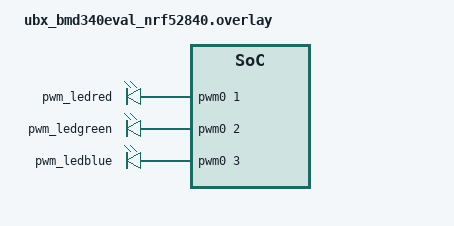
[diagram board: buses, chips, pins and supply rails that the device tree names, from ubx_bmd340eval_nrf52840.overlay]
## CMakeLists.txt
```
#
# Copyright (c) 2019 Nordic Semiconductor ASA
#
# SPDX-License-Identifier: LicenseRef-Nordic-5-Clause
#
cmake_minimum_required(VERSION 3.20.0)

find_package(Zephyr REQUIRED HINTS $ENV{ZEPHYR_BASE})
project(peripheral_hids_keyboard_UART)

FILE(GLOB app_sources src/*.c)

# Incluir el directorio src para que pueda encontrar los archivos .h
target_include_directories(app PRIVATE src)

# NORDIC SDK APP START
target_sources(app PRIVATE ${app_sources})
# NORDIC SDK APP END

zephyr_library_include_directories(${ZEPHYR_BASE}/samples/bluetooth)
```

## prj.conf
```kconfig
#
# Copyright (c) 2019 Nordic Semiconductor ASA
#
# SPDX-License-Identifier: LicenseRef-Nordic-5-Clause
#
CONFIG_NCS_SAMPLES_DEFAULTS=y

CONFIG_BT=y                                     # Habilita la pila de BLE y un conjunto de configuraciones predeterminadas
CONFIG_BT_DEBUG_LOG=y
CONFIG_BT_MAX_CONN=2
CONFIG_BT_MAX_PAIRED=2
CONFIG_BT_SMP=y                                 # Agregará el Protocolo de administración de seguridad a la pila de Bluetooth LE
CONFIG_BT_ATT_TX_COUNT=5
CONFIG_BT_PERIPHERAL=y                          # Incluye soporte para la función periférica de la pila BLE
# Nombre del dispositivo BLE (Nombre que ve el usuario)
CONFIG_BT_DEVICE_NAME="Nordic_HIDS_keyboard"
# Referencia a como deberia verse fisicamente el dispositivo (PARA BORRAR FRAN)
CONFIG_BT_DEVICE_APPEARANCE=961

CONFIG_BT_BAS=y
CONFIG_BT_HIDS=y
CONFIG_BT_HIDS_MAX_CLIENT_COUNT=2
CONFIG_BT_HIDS_DEFAULT_PERM_RW_ENCRYPT=y
CONFIG_BT_GATT_UUID16_POOL_SIZE=40
CONFIG_BT_GATT_CHRC_POOL_SIZE=20

CONFIG_BT_CONN_CTX=y

CONFIG_BT_DIS=y
CONFIG_BT_DIS_PNP=y
CONFIG_BT_DIS_MANUF="NordicSemiconductor"
CONFIG_BT_DIS_PNP_VID_SRC=2
CONFIG_BT_DIS_PNP_VID=0x1915
CONFIG_BT_DIS_PNP_PID=0xEEEF
CONFIG_BT_DIS_PNP_VER=0x0100

CONFIG_SYSTEM_WORKQUEUE_STACK_SIZE=2048

#incluye la configuración que maneja la memoria flash en su aplicación para almacenar y restaurar la información de enlace
CONFIG_BT_SETTINGS=y                            
CONFIG_FLASH=y
CONFIG_FLASH_PAGE_LAYOUT=y
CONFIG_FLASH_MAP=y
CONFIG_NVS=y
CONFIG_SETTINGS=y

CONFIG_PWM=y

CONFIG_DK_LIBRARY=y

# Config logger
CONFIG_LOG=y
CONFIG_LOG_DEFAULT_LEVEL=3
#CONFIG_USE_SEGGER_RTT=y
#CONFIG_LOG_BACKEND_RTT=y
CONFIG_LOG_BACKEND_UART=n
CONFIG_LOG_PRINTK=n
```

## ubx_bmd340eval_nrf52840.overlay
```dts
// To get started, press Ctrl+Space to bring up the completion menu and view the available nodes.

// You can also use the buttons in the sidebar to perform actions on nodes.
// Actions currently available include:

// * Enabling / disabling the node
// * Adding the bus to a bus
// * Removing the node
// * Connecting ADC channels

// For more help, browse the DeviceTree documentation at https://docs.zephyrproject.org/latest/guides/dts/index.html
// You can also visit the nRF DeviceTree extension documentation at https://docs.nordicsemi.com/bundle/nrf-connect-vscode/page/guides/ncs_configure_app.html#devicetree-support-in-the-extension

&spi3 {
	status = "disabled";
};

&uart1_default {
	group1 {
		psels = <NRF_PSEL(UART_TX, 1, 15)>;
	};

	group2 {
		psels = <NRF_PSEL(UART_RX, 1, 13)>;
		bias-pull-up;
	};
};

/*&gpiote {
	status = "disabled";
};*/

&clock {
	status = "okay";
};

/*---------------------------------------- LEDs and PWM 0 --------------------------------------------------------------------------------*/

&pwm0_default {
	group2 {
		psels = <NRF_PSEL(PWM_OUT0, 0, 13)>,
				//<NRF_PSEL(PWM_OUT1, 0, 26)>, //red
				//<NRF_PSEL(PWM_OUT2, 0, 28)>, //green
				//<NRF_PSEL(PWM_OUT3, 0, 30)>; //blue
				<NRF_PSEL(PWM_OUT1, 0, 14)>, //red   2
				<NRF_PSEL(PWM_OUT2, 0, 15)>, //blue  3
				<NRF_PSEL(PWM_OUT3, 0, 16)>; //green 4
	};
};

/ {
	pwmleds {
		compatible = "pwm-leds";
		pwm_ledred: red_pwm_led {
			pwms = <&pwm0 1 PWM_MSEC(20) 0>; //PWM_POLARITY_INVERTED
		};
		pwm_ledgreen: pwm_led_green {
			pwms = <&pwm0 2 PWM_MSEC(20) 0>;
		};
		pwm_ledblue: pwm_led_blue {
			pwms = <&pwm0 3 PWM_MSEC(20) 0>;
		};
	};
};

/*----------------------------------------------------------------------------------------------------------------------------------------*/
```

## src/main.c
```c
// INCLUDES ------------------------------------------------------------------------------------------------------------------------ 

//#include <errno.h>
//#include <zephyr/sys/byteorder.h>
//#include <zephyr/drivers/gpio.h>
//#include <soc.h>
//#include <assert.h>
//#include <zephyr/spinlock.h>

#include "APP_conf.h"
#include "ble_machine.h"
#include "uart_machine.h"
#include "gpios_leds.h"

//LOG_DBG
//LOG_INF
//LOG_WRN
//LOG_ERR

// VARIABLES AND DEFINES ------------------------------------------------------------------------------------------------------------------------

LOG_MODULE_REGISTER(LOG_MAIN,LOG_LEVEL);

#define K_INTERVAL  100//1

#define KEY_CODE_BUFFER_LEN 6 								// Largo del buffer que toma de UART y envia por BLE 
static uint8_t key_code_buffer[KEY_CODE_BUFFER_LEN];		// (6 es el valor maximo y es el maximo numero de teclas simultaneas que se pueden presionar KEY_PRESS_MAX en ble_machine.c )

static bool is_send = true;									// Bandera para verificar la confirmacion del envio de los datos em el archivo

enum app_machine
{
    APP_GET_UART,
    APP_SENT_BLE,
	APP_WAIT_BLE
};

enum UI_RGB_state_machine
{
    INIT,
    BLE_ADV,
	UART_NOT_READY,
	READY,
	TRANSMITINEDO,
	BLE_ERROR,
	UART_ERROR,
	NOT_STATE,
};

static int8_t app_machine = APP_GET_UART;
static int8_t RGB_machine = INIT;

// KEYCODE ------------------------------------------------------------------------------------------------------------------------

// Array para mapear los códigos de teclado inglés
static uint8_t codigosTeclado[255] = {
	['a'] = 0x04, ['b'] = 0x05, ['c'] = 0x06, ['d'] = 0x07, ['e'] = 0x08,
	['f'] = 0x09, ['g'] = 0x0a, ['h'] = 0x0b, ['i'] = 0x0c, ['j'] = 0x0d,
	['k'] = 0x0e, ['l'] = 0x0f, ['m'] = 0x10, ['n'] = 0x11, ['o'] = 0x12,
	['p'] = 0x13, ['q'] = 0x14, ['r'] = 0x15, ['s'] = 0x16, ['t'] = 0x17,
	['u'] = 0x18, ['v'] = 0x19, ['w'] = 0x1a, ['x'] = 0x1b, ['y'] = 0x1c,
	['z'] = 0x1d, ['0'] = 0x27, ['1'] = 0x1e, ['2'] = 0x1f, ['3'] = 0x20,
	['4'] = 0x21, ['5'] = 0x22, ['6'] = 0x23, ['7'] = 0x24, ['8'] = 0x25,
	['9'] = 0x26, [13 ] = 0x28, [' '] = 0x2c, ['.'] = 0x37, [','] = 0x36,
	[10]  = 0x11
};

// FUNCTIONS ------------------------------------------------------------------------------------------------------------------------

int obtenerCodigoTeclado(char caracter)
{
    int ascii = (int)caracter;
	int temp;

    if (ascii >= 0 && ascii <= 254) {
        temp = codigosTeclado[ascii];
		return temp==0 ? 0x2c : temp;
    } else {
		LOG_ERR("No se encontro el codigo del caracter %c ", caracter);
        return 0x2c;
    }
}

void string_complete_app_cb()
{
	is_send = true;
}

void UI_RGB_machine(void)
{
	static int8_t old_RGB_machine = -1;

	// Serie de if que permiten determinar el estado del dispositivo
	if(get_BLE_notifi_error()) RGB_machine = BLE_ERROR;
	else if(get_UART_notifi_error()) RGB_machine = UART_ERROR;
	else if(!is_send) RGB_machine = TRANSMITINEDO;
	else if(get_BLE_state_conection())
	{
		if(get_UART_notifi_ready()) RGB_machine = READY;
		else RGB_machine = UART_NOT_READY;
	}
	else if(get_state_adv()) RGB_machine = BLE_ADV;
	else if(RGB_machine == INIT);
	else RGB_machine = NOT_STATE;

	if(old_RGB_machine == RGB_machine) return;
	old_RGB_machine = RGB_machine;

	switch (RGB_machine)
	{
		case INIT:
			set_RGB(false,-1,1,-1); //AZUL PRENDIDO
			break;
		case BLE_ERROR:
			set_RGB(true,1,-1,-1);  //ROJO PARPADIANDO
			break;
		case UART_ERROR:
			set_RGB(true,1,-1,1);   //AMARILLO PARPADIANDO
			break;
		case TRANSMITINEDO:
			set_RGB(true,-1,-1,1);  //VERDE PARPADIANDO
			break;
		case READY:
			set_RGB(false,-1,-1,1); //VERDE PRENDIDO
			break;
		case UART_NOT_READY:
			set_RGB(false,1,-1,1);  //AMARILLO PRENDIDO
			break;
		case BLE_ADV:
			set_RGB(true,-1,1,-1);  //AZUL PARPADIANDO
			break;
		case NOT_STATE:
		default:
			set_RGB(true,1,1,1);  	//BLANCO PARPADIANDO
			break;
	}
}

// MAIN ------------------------------------------------------------------------------------------------------------------------

int main(void)
{

	LOG_INF("\r\n\n\n\nMAIN: Starting Bluetooth Peripheral HIDS keyboard example\n");

	static uint8_t data_len;
	uint8_t caracter;

	if(!RGB_UI_init())
	{
		LOG_ERR("Error: can not init RGB UI");
		return 0;
	}

	RGB_machine = INIT;   // ESTE ESTADO SE TENDRIA QUE PONER TAMBIEN SI LAS MAQUINAS DE ESTADO SE REINICIAN //FRAN

	for (;;)
	{
		UI_RGB_machine();

		ble_machine();

		//uart_machine();

		switch (app_machine)
		{
			case APP_GET_UART:
				//ACA QUIZAS DEBERIA VERIFICAR SI HAY CONECCION BLE ANTES DE EMPEZAR A PEDIR PAQUETES A LA UART //FRAN
				caracter = get_rdy_data();
				if(caracter != 0)
				{
					data_len = 0;
					while (caracter != 0)
					{
						key_code_buffer[data_len] = obtenerCodigoTeclado(caracter);
						data_len++;
						if(data_len == KEY_CODE_BUFFER_LEN) {
							caracter = 0;
						} else {
							caracter = get_rdy_data();
						}
					}
					app_machine = APP_SENT_BLE;
				} 
				break;

			case APP_SENT_BLE:
				if(get_BLE_state_conection())
				{
					if(string_send(key_code_buffer,data_len,string_complete_app_cb))
					{
						is_send = false;
						app_machine = APP_WAIT_BLE;
					}
				}
				break;

			case APP_WAIT_BLE:
				if(is_send) app_machine = APP_GET_UART;
				else if(!get_BLE_state_conection()) is_send = true;
				break;
		}
		
		k_sleep(K_MSEC(K_INTERVAL));

	}
}
```

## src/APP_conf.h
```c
#ifndef APP_CONF_H
#define APP_CONF_H

// INCLUDES ------------------------------------------------------------------------------------------------------------------------

#include <zephyr/kernel.h>              // Este lo puse y creo que soluciono el error de inclucion de esta misma libreria en main.c
#include <zephyr/types.h>

#include <stddef.h>
#include <zephyr/sys/printk.h>
#include <string.h>
#include <zephyr/logging/log.h>

// DEFINITIONS ------------------------------------------------------------------------------------------------------------------------

#define LOG_LEVEL 3

#endif//APP_CONF_H
```

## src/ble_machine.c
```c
// INCLUDES ------------------------------------------------------------------------------------------------------------------------

#include "ble_machine.h"

//LOG_LEVEL_SET(LOG_LEVEL);
LOG_MODULE_REGISTER(LOG_BLE,LOG_LEVEL);			// Registro del modulo logger y configuracion del nivel

// VARIABLES ------------------------------------------------------------------------------------------------------------------------

static uint8_t ble_machine_state = BLE_CB_REGISTERS;	//Estado de la maquina de estado BLE

static int8_t global_conter 	= 0;
static bool reconeccted_flag 	= true;
static bool state_conection 	= false;
static bool app_notifi_error_b 	= false;	// Bandeta que indica la precencia de un error
static bool is_adv 				= false; 	// Bandeta que indica el estado del advertising

string_complete_cb_t string_complete_cb;
int8_t* sending_string_pointer;
int8_t 	sending_string_len;



/*---------------------------------------- VARIABLES DEL PROCEDIMIENTO --------------------------------------------------------------*/

//ESTO LO PUSE POR LA FUNCION num_comp_reply Y TIENE QUE VER CON LA CLAVE
static struct k_work pairing_work;
struct pairing_data_mitm {
	struct bt_conn *conn;
	unsigned int passkey;
};

//ESTO LO PUSE POR LA FUNCION num_comp_reply Y TIENE QUE VER CON LOS PROCESOS DEL SISTEMA OPERATIVO
K_MSGQ_DEFINE(mitm_queue,
	      sizeof(struct pairing_data_mitm),
	      CONFIG_BT_HIDS_MAX_CLIENT_COUNT,
	      4);

static const struct bt_data ad[] = 												// Estructura del Advertising packet
{											
	BT_DATA_BYTES( 	BT_DATA_GAP_APPEARANCE,										// Da informacion de como deberia verse fisicamente el dispositivo (PARA BORRAR FRAN)
		      		(CONFIG_BT_DEVICE_APPEARANCE >> 0) & 0xff,
		      		(CONFIG_BT_DEVICE_APPEARANCE >> 8) & 0xff	),
	BT_DATA_BYTES(	BT_DATA_FLAGS, (BT_LE_AD_GENERAL | BT_LE_AD_NO_BREDR) ), 	// Banderas: Dispositivo no compatible con Bluetooth clásico (BR/EDR) - El periodo de publicidad es prolongado.
	BT_DATA_BYTES(	BT_DATA_UUID16_ALL, 										// Indica todos los UUIDs de 16 bits que el dispositivo está publicitando
					BT_UUID_16_ENCODE(BT_UUID_HIDS_VAL),							// Representa el UUID del servicio Human Interface Device Service (HIDS)
					BT_UUID_16_ENCODE(BT_UUID_BAS_VAL) ),							// Representa el UUID del servicio Battery Service (BAS)
};

static const struct bt_data sd[] = 												// Estructura de la respuesta de escaneo
{											
	BT_DATA(BT_DATA_NAME_COMPLETE, DEVICE_NAME, DEVICE_NAME_LEN),				// Incluye el nombre del dispositivo visible por el usuario
};

/*---------------------------------------- HID VARIABLES AND DEFINES --------------------------------------------------------------------------------*/

#define BASE_USB_HID_SPEC_VERSION   0x0101

#define OUTPUT_REPORT_MAX_LEN            1
#define OUTPUT_REPORT_BIT_MASK_CAPS_LOCK 0x02
#define INPUT_REP_KEYS_REF_ID            0
#define OUTPUT_REP_KEYS_REF_ID           0
#define MODIFIER_KEY_POS                 0
#define SHIFT_KEY_CODE                   0x02
#define SCAN_CODE_POS                    2
#define KEYS_MAX_LEN                    (INPUT_REPORT_KEYS_MAX_LEN - \
					SCAN_CODE_POS)

#define INPUT_REPORT_KEYS_MAX_LEN (1 + 1 + KEY_PRESS_MAX)

enum {
	OUTPUT_REP_KEYS_IDX = 0
};

enum {
	INPUT_REP_KEYS_IDX = 0
};

// ESTAS DEFINICIONES LAS PUSE POR LAS FUNCIONES DE QUE ENVIAN EL REPORTE
#define KEY_CTRL_CODE_MIN 224 /* Control key codes - required 8 of them */
#define KEY_CTRL_CODE_MAX 231 /* Control key codes - required 8 of them */
#define KEY_CODE_MIN      0   /* Normal key codes */
#define KEY_CODE_MAX      101 /* Normal key codes */
#define KEY_PRESS_MAX     6   /* Maximum number of non-control keyspressed simultaneously*/ //FRAN: No se puede aumentar este numero

BT_HIDS_DEF(hids_obj, OUTPUT_REPORT_MAX_LEN, INPUT_REPORT_KEYS_MAX_LEN); // HIDS instance

//ESTO SE USA EN LAS FUNCIONES DE CONNECTED Y EN LAS DE HID
static struct conn_mode {
	struct bt_conn *conn;
	bool in_boot_mode;
} conn_mode[CONFIG_BT_HIDS_MAX_CLIENT_COUNT];

// ESTA VARIABLE Y ESTRUCTURA LAS PUSE POR LAS FUNCIONES DE QUE ENVIAN EL REPORTE
/* Current report status*/
static struct keyboard_state {
	uint8_t ctrl_keys_state; /* Current keys state */
	uint8_t keys_state[KEY_PRESS_MAX];
} hid_keyboard_state;

// CALLBACKS STRUCT ------------------------------------------------------------------------------------------------------------------------

static struct bt_conn_auth_cb conn_auth_callbacks = {
	.passkey_display = auth_passkey_display,
	.passkey_confirm = auth_passkey_confirm,
	.cancel = auth_cancel,
};

static struct bt_conn_auth_info_cb conn_auth_info_callbacks = {
	.pairing_complete = pairing_complete,
	.pairing_failed = pairing_failed
};

BT_CONN_CB_DEFINE(conn_callbacks) = {
	.connected = connected,
	.disconnected = disconnected,
	.security_changed = security_changed,
};

/*---------------------------------------- HIDS FUNCTIONS AND CALLBACKS --------------------------------------------------------------------------------*/

static void hids_outp_rep_handler(struct bt_hids_rep *rep,
				  struct bt_conn *conn,
				  bool write)
{
	LOG_DBG("%d - hids_outp_rep_handler\n",global_conter++);

	char addr[BT_ADDR_LE_STR_LEN];

	if (!write) {
		printk("Output report read\n");
		return;
	};

	bt_addr_le_to_str(bt_conn_get_dst(conn), addr, sizeof(addr));
	LOG_INF("Output report has been received %s\n", addr);
}


static void hids_boot_kb_outp_rep_handler(struct bt_hids_rep *rep,
					  struct bt_conn *conn,
					  bool write)
{
	printk("%d - hids_boot_kb_outp_rep_handler\n",global_conter++); // FRANCISCO

	char addr[BT_ADDR_LE_STR_LEN];

	if (!write) {
		printk("Output report read\n");
		return;
	};

	bt_addr_le_to_str(bt_conn_get_dst(conn), addr, sizeof(addr));
	printk("Boot Keyboard Output report has been received %s\n", addr);
}


static void hids_pm_evt_handler(enum bt_hids_pm_evt evt, 
                                struct bt_conn *conn)
{
	printk("%d - hids_pm_evt_handler\n",global_conter++); // FRANCISCO

	char addr[BT_ADDR_LE_STR_LEN];
	size_t i;

	for (i = 0; i < CONFIG_BT_HIDS_MAX_CLIENT_COUNT; i++) {
		if (conn_mode[i].conn == conn) {
			break;
		}
	}

	if (i >= CONFIG_BT_HIDS_MAX_CLIENT_COUNT) {
		printk("Cannot find connection handle when processing PM");
		return;
	}

	bt_addr_le_to_str(bt_conn_get_dst(conn), addr, sizeof(addr));

	switch (evt) {
	case BT_HIDS_PM_EVT_BOOT_MODE_ENTERED:
		printk("Boot mode entered %s\n", addr);
		conn_mode[i].in_boot_mode = true;
		break;

	case BT_HIDS_PM_EVT_REPORT_MODE_ENTERED:
		printk("Report mode entered %s\n", addr);
		conn_mode[i].in_boot_mode = false;
		break;

	default:
		break;
	}
}


static void hid_init(void)
{
	int err;
	struct bt_hids_init_param    hids_init_obj = { 0 };
	struct bt_hids_inp_rep       *hids_inp_rep;
	struct bt_hids_outp_feat_rep *hids_outp_rep;

	printk("%d - hid_init\n",global_conter++);

	static const uint8_t report_map[] = {
		0x05, 0x01,       /* Usage Page (Generic Desktop) */
		0x09, 0x06,       /* Usage (Keyboard) */
		0xA1, 0x01,       /* Collection (Application) */

		/* Keys */
#if INPUT_REP_KEYS_REF_ID
		0x85, INPUT_REP_KEYS_REF_ID,
#endif
		0x05, 0x07,       /* Usage Page (Key Codes) */
		0x19, 0xe0,       /* Usage Minimum (224) */
		0x29, 0xe7,       /* Usage Maximum (231) */
		0x15, 0x00,       /* Logical Minimum (0) */
		0x25, 0x01,       /* Logical Maximum (1) */
		0x75, 0x01,       /* Report Size (1) */
		0x95, 0x08,       /* Report Count (8) */
		0x81, 0x02,       /* Input (Data, Variable, Absolute) */

		0x95, 0x01,       /* Report Count (1) */
		0x75, 0x08,       /* Report Size (8) */
		0x81, 0x01,       /* Input (Constant) reserved byte(1) */

		0x95, 0x06,       /* Report Count (6) */
		0x75, 0x08,       /* Report Size (8) */
		0x15, 0x00,       /* Logical Minimum (0) */
		0x25, 0x65,       /* Logical Maximum (101) */
		0x05, 0x07,       /* Usage Page (Key codes) */
		0x19, 0x00,       /* Usage Minimum (0) */
		0x29, 0x65,       /* Usage Maximum (101) */
		0x81, 0x00,       /* Input (Data, Array) Key array(6 bytes) */

		/* LED */
#if OUTPUT_REP_KEYS_REF_ID
		0x85, OUTPUT_REP_KEYS_REF_ID,
#endif
		0x95, 0x05,       /* Report Count (5) */
		0x75, 0x01,       /* Report Size (1) */
		0x05, 0x08,       /* Usage Page (Page# for LEDs) */
		0x19, 0x01,       /* Usage Minimum (1) */
		0x29, 0x05,       /* Usage Maximum (5) */
		0x91, 0x02,       /* Output (Data, Variable, Absolute), */
				  /* Led report */
		0x95, 0x01,       /* Report Count (1) */
		0x75, 0x03,       /* Report Size (3) */
		0x91, 0x01,       /* Output (Data, Variable, Absolute), */
				  /* Led report padding */

		0xC0              /* End Collection (Application) */
	};

	hids_init_obj.rep_map.data = report_map;
	hids_init_obj.rep_map.size = sizeof(report_map);

	hids_init_obj.info.bcd_hid = BASE_USB_HID_SPEC_VERSION;
	hids_init_obj.info.b_country_code = 0x00;
	hids_init_obj.info.flags = (BT_HIDS_REMOTE_WAKE |
				    BT_HIDS_NORMALLY_CONNECTABLE);

	hids_inp_rep =
		&hids_init_obj.inp_rep_group_init.reports[INPUT_REP_KEYS_IDX];
	hids_inp_rep->size = INPUT_REPORT_KEYS_MAX_LEN;
	hids_inp_rep->id = INPUT_REP_KEYS_REF_ID;
	hids_init_obj.inp_rep_group_init.cnt++;

	hids_outp_rep =
		&hids_init_obj.outp_rep_group_init.reports[OUTPUT_REP_KEYS_IDX];
	hids_outp_rep->size = OUTPUT_REPORT_MAX_LEN;
	hids_outp_rep->id = OUTPUT_REP_KEYS_REF_ID;
	hids_outp_rep->handler = hids_outp_rep_handler;									// ESTA ES DEL MISMO TIPO QUE LA DE LA LINEA 506
	hids_init_obj.outp_rep_group_init.cnt++;

	hids_init_obj.is_kb = true;
	hids_init_obj.boot_kb_outp_rep_handler = hids_boot_kb_outp_rep_handler;			// ESTA ES DEL MISMO TIPO QUE LA DE LA LINEA 502
	hids_init_obj.pm_evt_handler = hids_pm_evt_handler;

	err = bt_hids_init(&hids_obj, &hids_init_obj);
	__ASSERT(err == 0, "HIDS initialization failed\n");
}

/*---------------------------------------- FUNCTIONS -----------------------------------------------------------------------*/

static void advertising_start(void)
{
	LOG_DBG("advertising_start\n");
	int err;
	struct bt_le_adv_param *adv_param = BT_LE_ADV_PARAM( BT_LE_ADV_OPT_CONNECTABLE |		// Advertising Options: Publicidad como conectable	
														 BT_LE_ADV_OPT_ONE_TIME,			// Advertising Options: Anuncie una vez. No intentes reanudar la publicidad conectable después de una conexión. 
														 BT_GAP_ADV_FAST_INT_MIN_2,			// Minimum advertising interval: 
														 BT_GAP_ADV_FAST_INT_MAX_2,			// Maximum advertising interval:
														 NULL);								// Publicidad dirigida a esta direccion.

	err = bt_le_adv_start(adv_param, ad, ARRAY_SIZE(ad), sd, ARRAY_SIZE(sd));				// Inicia la publicidad con su configuracion y los paquetes de publicidad y de respuesta a escaneo  
	if (err)
	{
		if (err == -EALREADY) {
			LOG_INF("Advertising continued\n"); // Esto nose si es necesario, lo dejo para ver cuando pasa. FRAN
		} else {
			LOG_ERR("Advertising failed to start (err %d)\n", err);
		}
		return;
	}

	is_adv = true;
	LOG_INF("Advertising successfully started\n");
}

static void num_comp_reply(bool accept)
{
	printk("%d - num_comp_reply\n",global_conter++); // FRANCISCO

	struct pairing_data_mitm pairing_data;
	struct bt_conn *conn;

	if (k_msgq_get(&mitm_queue, &pairing_data, K_NO_WAIT) != 0) {
		return;
	}

	conn = pairing_data.conn;

	if (accept) {
		bt_conn_auth_passkey_confirm(conn);
		printk("Numeric Match, conn %p\n", conn);
	} else {
		bt_conn_auth_cancel(conn);
		printk("Numeric Reject, conn %p\n", conn);
	}

	bt_conn_unref(pairing_data.conn);

	if (k_msgq_num_used_get(&mitm_queue)) {
		k_work_submit(&pairing_work);
	}
}

/*---------------------------------------- FUNCTIONES TO REPORTS-----------------------------------------------------------------------*/

bool get_BLE_state_conection()
{
	return state_conection;
}

bool get_state_adv()
{
	return is_adv;
}

bool get_BLE_notifi_error(void)
{
    return app_notifi_error_b;
}

bool string_send(char* cadena, int8_t len, string_complete_cb_t cb)
{
	if(ble_machine_state != BLE_WAITING_TO_SEND)	return false;
    if(cadena == NULL || len == 0 || cb == NULL)	return false;
	
	string_complete_cb 		= cb;
	sending_string_pointer 	= cadena;
	sending_string_len		= len;

	for (int8_t i = 0; i < len ; i++)
	{
		hid_kbd_state_key_set(sending_string_pointer[i]);
	}

	key_report_send();
	ble_machine_state = BLE_WAITING_SEND;
	return true;
}

void Report_complete_callback(struct bt_conn *conn, void *user_data) //Esta callback la tendria que pasar yo a la funcion de key_report_send
{ 
	printk("%d - Report_complete_callback  ",global_conter++); // FRANCISCO

	if(sending_string_pointer == NULL)
    {
		string_complete_cb();
		ble_machine_state 	= BLE_WAITING_TO_SEND;
	}
	else
	{
		for (int8_t i = 0 ; i < sending_string_len ; i++)
		{
			hid_kbd_state_key_clear(sending_string_pointer[i]);
		}
		sending_string_pointer = NULL;
		sending_string_len = 0;
		key_report_send();
		ble_machine_state = BLE_WAITING_SEND;
	}
}

int hid_kbd_state_key_set(uint8_t key)
{
	//printk("%d - key_set\n",global_conter++); // FRANCISCO

	uint8_t ctrl_mask = 0;//button_ctrl_code(key);

	if (ctrl_mask) {
		hid_keyboard_state.ctrl_keys_state |= ctrl_mask;
		return 0;
	}
	for (size_t i = 0; i < KEY_PRESS_MAX; ++i) {
		if (hid_keyboard_state.keys_state[i] == 0) {
			hid_keyboard_state.keys_state[i] = key;
			return 0;
		}
	}
	/* All slots busy */
	return -EBUSY;
}

int hid_kbd_state_key_clear(uint8_t key)
{
	//printk("%d - key_clear\n",global_conter++); // FRANCISCO

	uint8_t ctrl_mask = 0;//button_ctrl_code(key);

	if (ctrl_mask) {
		hid_keyboard_state.ctrl_keys_state &= ~ctrl_mask;
		return 0;
	}
	for (size_t i = 0; i < KEY_PRESS_MAX; ++i) {
		if (hid_keyboard_state.keys_state[i] == key) {
			hid_keyboard_state.keys_state[i] = 0;
			return 0;
		}
	}
	/* Key not found */
	return -EINVAL;
}

static int key_report_con_send(const struct keyboard_state *state,bool boot_mode,struct bt_conn *conn)
{

	//printk("%d - key_report_con_send\n",global_conter++); // FRANCISCO

	int err = 0;
	uint8_t  data[INPUT_REPORT_KEYS_MAX_LEN];
	uint8_t *key_data;
	const uint8_t *key_state;
	size_t n;

	data[0] = state->ctrl_keys_state;
	data[1] = 0;
	key_data = &data[2];
	key_state = state->keys_state;

	for (n = 0; n < KEY_PRESS_MAX; ++n) {
		*key_data++ = *key_state++;
	}
	if (boot_mode) {
		err = bt_hids_boot_kb_inp_rep_send(&hids_obj, conn, data,
							sizeof(data), NULL);
	} else {
		err = bt_hids_inp_rep_send(&hids_obj, conn,
						INPUT_REP_KEYS_IDX, data,
						sizeof(data), Report_complete_callback);
	}
	return err;
}

int key_report_send(void)
{

	printk("%d - key_report_send\n",global_conter++); // FRANCISCO

	for (size_t i = 0; i < CONFIG_BT_HIDS_MAX_CLIENT_COUNT; i++) {
		if (conn_mode[i].conn) {
			int err;

			err = key_report_con_send(&hid_keyboard_state,
						  conn_mode[i].in_boot_mode,
						  conn_mode[i].conn);
			if (err) {
				printk("Key report send error: %d\n", err);
				return err;
			}
		}
	}
	return 0;
}

/*---------------------------------------- AUTH CALLBACKS -------------------------------------------------------------------*/

void auth_passkey_display(struct bt_conn *conn, unsigned int passkey)
{

	printk("%d - auth_passkey_display\n",global_conter++); // FRANCISCO

	char addr[BT_ADDR_LE_STR_LEN];

	bt_addr_le_to_str(bt_conn_get_dst(conn), addr, sizeof(addr));

	printk("Passkey for %s: %06u\n", addr, passkey);
}

void auth_passkey_confirm(struct bt_conn *conn, unsigned int passkey)
{
	int err;

	printk("%d - auth_passkey_confirm\n",global_conter++); // FRANCISCO

	reconeccted_flag = false;

	struct pairing_data_mitm pairing_data;

	pairing_data.conn    = bt_conn_ref(conn);
	pairing_data.passkey = passkey;

	err = k_msgq_put(&mitm_queue, &pairing_data, K_NO_WAIT);
	if (err) {
		printk("Pairing queue is full. Purge previous data.\n");
	}

	/* In the case of multiple pairing requests, trigger
	 * pairing confirmation which needed user interaction only
	 * once to avoid display information about all devices at
	 * the same time. Passkey confirmation for next devices will
	 * be proccess from queue after handling the earlier ones.
	 */
	if (k_msgq_num_used_get(&mitm_queue) == 1) {
		k_work_submit(&pairing_work);
	}
}

void auth_cancel(struct bt_conn *conn)
{

	printk("%d - auth_cancel\n",global_conter++); // FRANCISCO

	char addr[BT_ADDR_LE_STR_LEN];

	bt_addr_le_to_str(bt_conn_get_dst(conn), addr, sizeof(addr));

	printk("Pairing cancelled: %s\n", addr);
}

/*---------------------------------------- PAIRING CALLBACKS -------------------------------------------------------------------*/

void pairing_complete(struct bt_conn *conn, bool bonded)
{

	printk("%d - pairing_complete\n",global_conter++); // FRANCISCO

	char addr[BT_ADDR_LE_STR_LEN];

	bt_addr_le_to_str(bt_conn_get_dst(conn), addr, sizeof(addr));

	printk("Pairing completed: %s, bonded: %d\n", addr, bonded);

	reconeccted_flag  = true;
    ble_machine_state = BLE_CONECCTED;

}

void pairing_failed(struct bt_conn *conn, enum bt_security_err reason)
{

	printk("%d - pairing_failed\n",global_conter++); // FRANCISCO

	char addr[BT_ADDR_LE_STR_LEN];
	struct pairing_data_mitm pairing_data;

	if (k_msgq_peek(&mitm_queue, &pairing_data) != 0) {
		return;
	}

	if (pairing_data.conn == conn) {
		bt_conn_unref(pairing_data.conn);
		k_msgq_get(&mitm_queue, &pairing_data, K_NO_WAIT);
	}

	bt_addr_le_to_str(bt_conn_get_dst(conn), addr, sizeof(addr));

	printk("Pairing failed conn: %s, reason %d\n", addr, reason);
}

void pairing_process(struct k_work *work)
{
	int err;
	struct pairing_data_mitm pairing_data;

	printk("%d - pairing_process\n",global_conter++); // FRANCISCO

	char addr[BT_ADDR_LE_STR_LEN];

	err = k_msgq_peek(&mitm_queue, &pairing_data);
	if (err) {
		return;
	}

	bt_addr_le_to_str(bt_conn_get_dst(pairing_data.conn),
			  addr, sizeof(addr));

	printk("Passkey for %s: %06u\n", addr, pairing_data.passkey);
	//printk("Press Button 1 to confirm, Button 2 to reject.\n");
    num_comp_reply(true); // CON ESTO HACEPTO LA CALVE DIRECTAMENTE
}

/*---------------------------------------- CONNECTION CALLBACKS -------------------------------------------------------------------*/

void connected(struct bt_conn *conn, uint8_t err)
{
	LOG_DBG("Connected CB\n");

	char addr[BT_ADDR_LE_STR_LEN];
	bt_addr_le_to_str(bt_conn_get_dst(conn), addr, sizeof(addr));

	if (err) {
		LOG_ERR("Failed to connect to %s (%u)\n", addr, err);
		return;
	}

	LOG_INF("Connected to %s\n",addr);

	err = bt_hids_connected(&hids_obj, conn);
	if (err) {
		LOG_ERR("Failed to notify HID service about connection\n");
		return;
	}
	
	//Verifica si existe espacio para la nueva coneccion
	for (size_t i = 0; i < CONFIG_BT_HIDS_MAX_CLIENT_COUNT; i++) {
		if (!conn_mode[i].conn) {
			conn_mode[i].conn = conn;
			conn_mode[i].in_boot_mode = false;
			if(i+1 < CONFIG_BT_HIDS_MAX_CLIENT_COUNT){
				if (!conn_mode[i].conn) advertising_start();
			}
			return;
		}
	}

	/*for (size_t i = 0; i < CONFIG_BT_HIDS_MAX_CLIENT_COUNT; i++) {
		if (!conn_mode[i].conn) {
			advertising_start();
			return;
		}
	}*/

	is_adv = false;
}

void disconnected(struct bt_conn *conn, uint8_t reason)
{
	int err;
	bool is_any_dev_connected = false;
	char addr[BT_ADDR_LE_STR_LEN];

	LOG_DBG("Disconnected CB\n");

	state_conection = false;

	bt_addr_le_to_str(bt_conn_get_dst(conn), addr, sizeof(addr));
	LOG_INF("Disconnected from %s (reason %u)\n", addr, reason);

	err = bt_hids_disconnected(&hids_obj, conn);
	if (err) {
		LOG_ERR("Failed to notify HID service about disconnection\n");
	}

	for (size_t i = 0; i < CONFIG_BT_HIDS_MAX_CLIENT_COUNT; i++) {
		if (conn_mode[i].conn == conn) {
			conn_mode[i].conn = NULL;
		} else {
			if (conn_mode[i].conn) {
				is_any_dev_connected = true;
			}
		}
	}

	if (!is_any_dev_connected) {}

	advertising_start();
	ble_machine_state = BLE_WAITING_CONECTION;
}

void security_changed(struct bt_conn *conn, bt_security_t level,enum bt_security_err err)
{
	char addr[BT_ADDR_LE_STR_LEN];

	printk("%d - security_changed\n",global_conter++); // FRANCISCO

	bt_addr_le_to_str(bt_conn_get_dst(conn), addr, sizeof(addr));

	if (!err) {
		printk("Security changed: %s level %u\n", addr, level);
	} else {
		printk("Security failed: %s level %u err %d\n", addr, level,
			err);
	}

	if(reconeccted_flag) ble_machine_state = BLE_CONECCTED;
}

/*---------------------------------------- MACHINE --------------------------------------------------------------------------------*/

void ble_machine()
{
	//LOG_ERR("ble_machine");
    uint8_t err;
    switch (ble_machine_state)
    {
        case BLE_CB_REGISTERS:
        {	
			err = bt_conn_auth_cb_register(&conn_auth_callbacks);
	        if (err) {
		        LOG_ERR("BLE Failed to register authorization callbacks.\n");
				app_notifi_error_b = true;
		        break;
	        }

            err = bt_conn_auth_info_cb_register(&conn_auth_info_callbacks);
	        if (err) {
		        LOG_ERR("BLE Failed to register authorization info callbacks.\n");
				app_notifi_error_b = true;
		        break;
	        }

			app_notifi_error_b = false;
            ble_machine_state  = BLE_INIT;
            break;
        }

        case BLE_INIT:
        {
            hid_init();

            err = bt_enable(NULL);
	        if (err) {
		        printk("BLE Bluetooth init failed (err %d)\n", err);
				app_notifi_error_b = true;
		        break;
	        }

			if (IS_ENABLED(CONFIG_SETTINGS)) {
		        settings_load();
	        }

			app_notifi_error_b = false;
            printk("BLE inicializado\n");
            ble_machine_state = BLE_ADVERTISING;
            break;
        }

        case BLE_ADVERTISING:
        {
			printk("BLE_ADVERTISING\n");

	        advertising_start();

	        k_work_init(&pairing_work, pairing_process);

            ble_machine_state = BLE_WAITING_CONECTION;
            break;
        }

        case BLE_WAITING_CONECTION:
        {
            break;
        }

        case BLE_CONECCTED:
        {
            printk("BLE coneccted and ready\n");
			state_conection = true;
			ble_machine_state = BLE_WAITING_TO_SEND;
            break;
        }

        case BLE_WAITING_TO_SEND:
        {

            break;
        }

        case BLE_WAITING_SEND:
        {

            break;
        }
		
    }
}
```

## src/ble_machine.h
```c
#ifndef BLE_MACHINE_H
#define BLE_MACHINE_H

// INCLUDES ------------------------------------------------------------------------------------------------------------------------

#include <zephyr/bluetooth/conn.h>          // Permite gestionar los eventos de coneccion. Tambien el pairing y authenticacion
#include <zephyr/bluetooth/bluetooth.h>     // APIs de Generic Access Profile (GAP) , bt_enable() - advertising_start ...
#include <bluetooth/services/hids.h>        // Para la funcion hid_init en principio
#include <zephyr/settings/settings.h>       // Lo agrege por la funcion settings_load() del estado BLE_ADVERTISING

#include "APP_conf.h"

// DEFINITIONS ------------------------------------------------------------------------------------------------------------------------

enum ble_machine
{
    BLE_CB_REGISTERS,
    BLE_INIT,
    BLE_ADVERTISING,
    BLE_WAITING_CONECTION,
    BLE_CONECCTED,
    BLE_WAITING_TO_SEND,
    KEY_REPORT_SENT,
    BLE_WAITING_SEND,
    BLE_CLEAR_KEY,
    BLE_DEACTIVATE
};

#define DEVICE_NAME     CONFIG_BT_DEVICE_NAME
#define DEVICE_NAME_LEN (sizeof(DEVICE_NAME) - 1)

// CALLBAKS ------------------------------------------------------------------------------------------------------------------------

void auth_passkey_display(struct bt_conn *conn, unsigned int passkey);
void auth_passkey_confirm(struct bt_conn *conn, unsigned int passkey);
void auth_cancel(struct bt_conn *conn);

void pairing_complete(struct bt_conn *conn, bool bonded);
void pairing_failed(struct bt_conn *conn, enum bt_security_err reason);
void pairing_process(struct k_work *work);

void connected(struct bt_conn *conn, uint8_t err);
void disconnected(struct bt_conn *conn, uint8_t reason);
void security_changed(struct bt_conn *conn, bt_security_t level,enum bt_security_err err);

//  ------------------------------------------------------------------------------------------------------------------------

void ble_machine();

//  ------------------------------------------------------------------------------------------------------------------------

bool get_BLE_state_conection();

bool get_state_adv();

bool get_BLE_notifi_error(void);

typedef void (*string_complete_cb_t) ();
void Report_complete_callback(struct bt_conn *conn, void *user_data);

bool string_send(char* cadena, int8_t len,string_complete_cb_t);

int hid_kbd_state_key_set(uint8_t key);

int hid_kbd_state_key_clear(uint8_t key);

int key_report_send(void);

//------------------------------------------------------------------------------------------------------------------------

#endif // BLE_MACHINE_H
```

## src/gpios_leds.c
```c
/*---------------------------------------- INCLUDES --------------------------------------------------------------------------------*/

#include "gpios_leds.h"

/*---------------------------------------- VARIABLES --------------------------------------------------------------------------------*/
static const struct pwm_dt_spec pwm_ledred   = PWM_DT_SPEC_GET(DT_NODELABEL(pwm_ledred));
static const struct pwm_dt_spec pwm_ledblue  = PWM_DT_SPEC_GET(DT_NODELABEL(pwm_ledblue));
static const struct pwm_dt_spec pwm_ledgreen = PWM_DT_SPEC_GET(DT_NODELABEL(pwm_ledgreen));

/*bool config_period_channel(const struct pwm_dt_spec *dev ,uint32_t* period)//, uint32_t* pulse)
{
	uint32_t reduced_period;
	bool last_test = false;

	printk("Calibrating for channel %d...\n", dev->channel);

	while(pwm_set(dev, dev->channel, *period, *period, dev->flags))
	{
		if(last_test = true) return false;

		reduced_period = *period - (*period / 4);

		if (reduced_period < MIN_NOT_VISIBLE_PERIOD)
		{
			*period = MIN_NOT_VISIBLE_PERIOD;
			last_test = true;
    	}
		else
		{
        	*period = reduced_period;
    	}
	}
	printk("Done calibrating\n");
	return true;
}*/

bool set_RGB(bool flicker, int8_t red, int8_t blue, int8_t green)
{
	//	>0 Prendido al 100
	//	0 prendido al 50
	//	<0 apagado

	uint8_t error;
	uint32_t perido=80;
	uint8_t divider;

	error = pwm_set(pwm_ledred.dev, pwm_ledred.channel, perido, 	0, pwm_ledred.flags);
	if(error){
		if(error) printk("Error: can not clear led %s",pwm_ledred.dev->name);
		return false;	
	}
	error = pwm_set(pwm_ledblue.dev, pwm_ledblue.channel, perido, 	0, pwm_ledblue.flags);
	if(error){
		if(error) printk("Error: can not clear led %s",pwm_ledblue.dev->name);
		return false;	
	}
	error = pwm_set(pwm_ledgreen.dev, pwm_ledgreen.channel, perido, 0, pwm_ledgreen.flags);
	if(error){
		if(error) printk("Error: can not clear led %s",pwm_ledgreen.dev->name);
		return false;	
	}

	if(flicker){
		perido = VISIBLE_PERIOD;
		divider = 2U;
	}else{
		perido = NOT_VISIBLE_PERIOD;
		divider = 1U;
	}

	if(red>0)  		error = pwm_set(pwm_ledred.dev, pwm_ledred.channel, perido, perido/divider	, pwm_ledred.flags);
	else if(red<0)	error = pwm_set(pwm_ledred.dev, pwm_ledred.channel, perido, 0	 	 		, pwm_ledred.flags);
	else if(red==0)	error = pwm_set(pwm_ledred.dev, pwm_ledred.channel, perido, perido/(2U*divider)		, pwm_ledred.flags);
	if(error){
		if(error) printk("Error: can not sed led %s",pwm_ledred.dev->name);
		return false;	
	}

	if(blue>0)  	error = pwm_set(pwm_ledblue.dev, pwm_ledblue.channel, perido, perido/divider	, pwm_ledblue.flags);
	else if(blue<0)	error = pwm_set(pwm_ledblue.dev, pwm_ledblue.channel, perido, 0	 	 			, pwm_ledblue.flags);
	else if(blue==0)	error = pwm_set(pwm_ledblue.dev, pwm_ledblue.channel, perido, perido/(2U*divider)			, pwm_ledblue.flags);
	if(error){
		if(error) printk("Error: can not sed led %s",pwm_ledblue.dev->name);
		return false;	
	}

	if(green>0)  	  error = pwm_set(pwm_ledgreen.dev, pwm_ledgreen.channel, perido, perido/divider	, pwm_ledgreen.flags);
	else if(green<0)  error = pwm_set(pwm_ledgreen.dev, pwm_ledgreen.channel, perido, 0	 	 			, pwm_ledgreen.flags);
	else if(green==0)  error = pwm_set(pwm_ledgreen.dev, pwm_ledgreen.channel, perido, perido/(2U*divider)			, pwm_ledgreen.flags);
	if(error){
		printk("Error: can not sed led %s",pwm_ledgreen.dev->name);
		return false;	
	}

	return true;
}

bool RGB_UI_init(void)
{
	if (!pwm_is_ready_dt(&pwm_ledred)) {
		printk("Error: PWM device %s is not ready\n",pwm_ledred.dev->name);
		return false;
	}
	if (!pwm_is_ready_dt(&pwm_ledblue)) {
		printk("Error: PWM device %s is not ready\n",pwm_ledblue.dev->name);
		return false;
	}
	if (!pwm_is_ready_dt(&pwm_ledgreen)) {
		printk("Error: PWM device %s is not ready\n",pwm_ledgreen.dev->name);
		return false;
	}

    if(!set_RGB(false,-1,-1,-1)){
        printk("Error: can not set init RGB state");
        return false;
    }

	return true;
}
```

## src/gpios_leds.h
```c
#ifndef GPIOS_LEDS_H
#define GPIOS_LEDS_H


/*---------------------------------------- INCLUDES --------------------------------------------------------------------------------*/

#include <zephyr/kernel.h>
#include <zephyr/sys/printk.h>
#include <zephyr/device.h>
#include <zephyr/drivers/pwm.h>
#include <errno.h>

/*----------------------------------------------------------------------------------------------------------------------------------*/

#define VISIBLE_PERIOD			PWM_HZ(5)		//FUNCIONA
#define NOT_VISIBLE_PERIOD		PWM_HZ(100)		//FUNCIONA con 100 y 200 y funciona para el pulso al dividirlo por 2,4 y 8

#define MIN_NOT_VISIBLE_PERIOD	PWM_HZ(50) // Este solo se usa en la funcion de calibracion del periodo la cual no uso por ahora

bool RGB_UI_init(void);
bool set_RGB(bool flicker, int8_t red, int8_t blue, int8_t green);

#endif // GPIOS_LEDS_H
```

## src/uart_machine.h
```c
#ifndef UART_MACHINE_H
#define UART_MACHINE_H


/*---------------------------------------- INCLUDES --------------------------------------------------------------------------------*/

#include <zephyr/types.h>
#include <stddef.h>
#include <string.h>
#include <zephyr/sys/printk.h>
#include <zephyr/kernel.h>

#include <zephyr/drivers/uart.h>

/*---------------------------------------- DEFINITIONS --------------------------------------------------------------------------------*/

#define RECEIVE_BUFF_SIZE 	 8
#define RECEIVE_BUFF_NUMBER  32
#define RECEIVE_TIMEOUT_HAR  10000000//10000

#define K_INTERVAL_TO_REINIT 50

enum uart_machine
{
    NOT_USET,
    UART_INIT,
    UART_RX_INIT,
    UART_WORKING,
    UART_DEACTIVATE,
    WAIT_FOT_REINIT
};

uint8_t get_rdy_data();

void uart_machine();

bool get_UART_notifi_error(void);
bool get_UART_notifi_ready(void);

/*----------------------------------------------------------------------------------------------------------------------------------*/

#endif // UART_MACHINE_H
```
